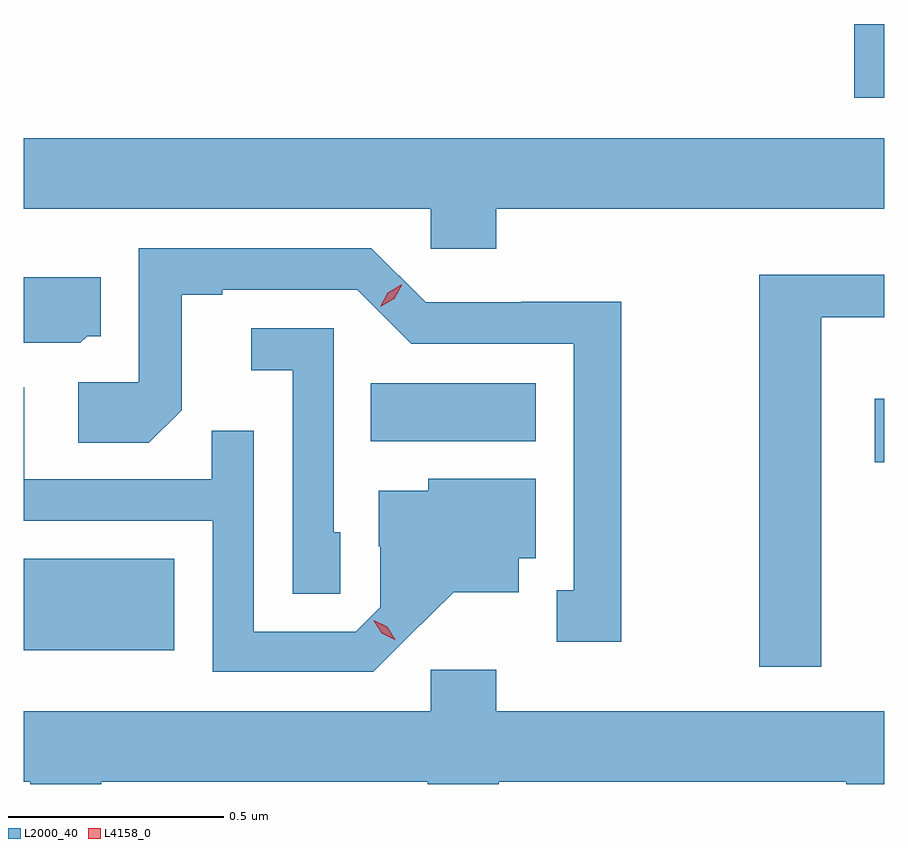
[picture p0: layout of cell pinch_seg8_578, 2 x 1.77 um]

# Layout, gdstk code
import gdstk
lib = gdstk.Library(unit=1e-6, precision=1e-09)
def R(c, l, rs):  # rectangles x0, y0, x1, y1
    for r in rs: c.add(gdstk.rectangle(r[:2], r[2:], *l))
def P(c, l, *ps):  # polygons
    for p in ps: c.add(gdstk.Polygon(p, *l))
L2000_40 = (2000, 40)
L4158_0 = (4158, 0)

pinch_seg8_578 = lib.new_cell('pinch_seg8_578')
R(pinch_seg8_578, L2000_40, [(166.31,1114.142,166.66,1114.354), (168.288,1114.579,168.31,1114.726), (167.116,1114.628,167.5,1114.762), (168.24,1115.426,168.31,1115.597)])
P(pinch_seg8_578, L2000_40, [(167.408,1115.168),(168.31,1115.168),(168.31,1115.332),(166.31,1115.332),(166.31,1115.168),(167.256,1115.168),(167.256,1115.075),(167.408,1115.075)],
  [(167.699,1114.952),(167.466,1114.952),(167.466,1114.95),(167.244,1114.95),(167.118,1115.076),(166.578,1115.076),(166.578,1114.764),(166.437,1114.764),(166.437,1114.624),(166.601,1114.624),(166.677,1114.7),(166.677,1114.968),(166.771,1114.968),(166.771,1114.98),(167.085,1114.98),(167.211,1114.854),(167.588,1114.854),(167.588,1114.281),(167.549,1114.281),(167.549,1114.161),(167.699,1114.161)],
  [(168.163,1114.916),(168.31,1114.916),(168.31,1115.014),(168.019,1115.014),(168.019,1114.104),(168.163,1114.104)],
  [(166.458,1114.872),(166.489,1114.872),(166.489,1115.008),(166.31,1115.008),(166.31,1114.856),(166.442,1114.856)],
  [(167.046,1114.416),(167.031,1114.416),(167.031,1114.89),(166.839,1114.89),(166.839,1114.793),(166.935,1114.793),(166.935,1114.273),(167.046,1114.273)],
  [(167.206,1114.175),(167.309,1114.277),(167.461,1114.277),(167.461,1114.356),(167.5,1114.356),(167.5,1114.54),(167.25,1114.54),(167.25,1114.513),(167.135,1114.513),(167.135,1114.384),(167.139,1114.384),(167.139,1114.242),(167.082,1114.185),(166.845,1114.185),(166.845,1114.652),(166.747,1114.652),(166.747,1114.539),(166.311,1114.539),(166.311,1114.753),(166.31,1114.753),(166.31,1114.443),(166.749,1114.443),(166.749,1114.092),(167.122,1114.092)],
  [(167.408,1114.096),(167.256,1114.096),(167.256,1114),(166.31,1114),(166.31,1113.836),(166.325,1113.836),(166.325,1113.831),(166.49,1113.831),(166.49,1113.836),(167.249,1113.836),(167.249,1113.831),(167.414,1113.831),(167.414,1113.836),(168.221,1113.836),(168.221,1113.831),(168.31,1113.831),(168.31,1114),(167.408,1114)])
P(pinch_seg8_578, L4158_0, [(167.139,1114.94),(167.139,1114.94),(167.156,1114.972),(167.188,1114.991),(167.189,1114.991),(167.189,1114.99),(167.171,1114.958),(167.139,1114.94)],
  [(167.172,1114.166),(167.142,1114.181),(167.124,1114.21),(167.124,1114.211),(167.124,1114.211),(167.155,1114.196),(167.173,1114.166),(167.173,1114.166)])

lib.write_gds('pinch_seg8_578.gds')
